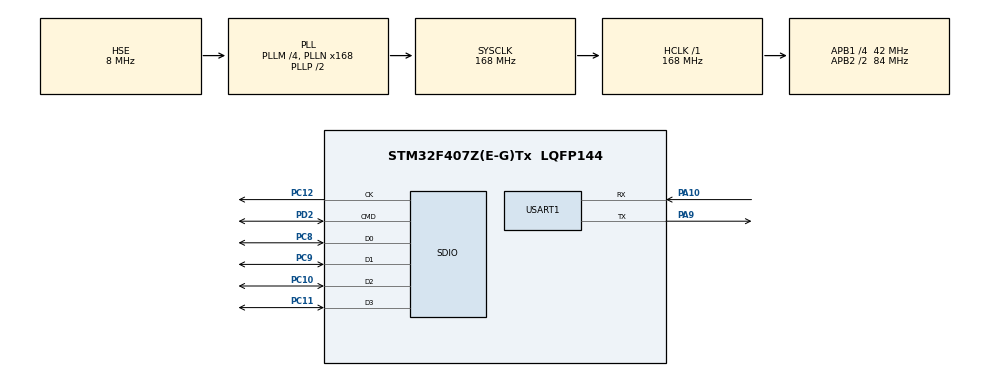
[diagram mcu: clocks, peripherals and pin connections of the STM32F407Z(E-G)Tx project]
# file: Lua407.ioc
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Mcu.Family=STM32F4
Mcu.Name=STM32F407Z(E-G)Tx
Mcu.Package=LQFP144
NVIC.PriorityGroup=NVIC_PRIORITYGROUP_4
PA10.Mode=Asynchronous
PA10.Signal=USART1_RX
PA13.Mode=Serial_Wire
PA13.Signal=SYS_JTMS-SWDIO
PA14.Mode=Serial_Wire
PA14.Signal=SYS_JTCK-SWCLK
PA9.Mode=Asynchronous
PA9.Signal=USART1_TX
PC10.Mode=SD_4_bits_Wide_bus
PC10.Signal=SDIO_D2
PC11.Mode=SD_4_bits_Wide_bus
PC11.Signal=SDIO_D3
PC12.Mode=SD_4_bits_Wide_bus
PC12.Signal=SDIO_CK
PC14-OSC32_IN.Mode=LSE-External-Oscillator
PC14-OSC32_IN.Signal=RCC_OSC32_IN
PC15-OSC32_OUT.Mode=LSE-External-Oscillator
PC15-OSC32_OUT.Signal=RCC_OSC32_OUT
PC8.Mode=SD_4_bits_Wide_bus
PC8.Signal=SDIO_D0
PC9.Mode=SD_4_bits_Wide_bus
PC9.Signal=SDIO_D1
PD2.Mode=SD_4_bits_Wide_bus
PD2.Signal=SDIO_CMD
PH0-OSC_IN.Mode=HSE-External-Oscillator
PH0-OSC_IN.Signal=RCC_OSC_IN
PH1-OSC_OUT.Mode=HSE-External-Oscillator
PH1-OSC_OUT.Signal=RCC_OSC_OUT
ProjectManager.HeapSize=0x200
ProjectManager.StackSize=0x400
ProjectManager.TargetToolchain=Makefile
RCC.48MHZClocksFreq_Value=48000000
RCC.AHBFreq_Value=168000000
RCC.APB1CLKDivider=RCC_HCLK_DIV4
RCC.APB1Freq_Value=42000000
RCC.APB1TimFreq_Value=84000000
RCC.APB2CLKDivider=RCC_HCLK_DIV2
RCC.APB2Freq_Value=84000000
RCC.APB2TimFreq_Value=168000000
RCC.CortexFreq_Value=168000000
RCC.EnbaleCSS=true
RCC.HCLKFreq_Value=168000000
RCC.HSE_VALUE=8000000
RCC.HSI_VALUE=16000000
RCC.PLLM=4
RCC.PLLN=168
RCC.PLLQ=7
RCC.PLLSourceVirtual=RCC_PLLSOURCE_HSE
RCC.SYSCLKFreq_VALUE=168000000
RCC.SYSCLKSource=RCC_SYSCLKSOURCE_PLLCLK
RCC.VCOOutputFreq_Value=336000000
USART1.VirtualMode=VM_ASYNC
VP_FATFS_VS_SDIO.Mode=SDIO
board=custom

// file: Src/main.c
/* USER CODE BEGIN Header */
/**
  ******************************************************************************
  * @file           : main.c
  * @brief          : Main program body
  ******************************************************************************
  * @attention
  *
  * <h2><center>&copy; Copyright (c) 2020 STMicroelectronics.
  * All rights reserved.</center></h2>
  *
  * This software component is licensed by ST under Ultimate Liberty license
  * SLA0044, the "License"; You may not use this file except in compliance with
  * the License. You may obtain a copy of the License at:
  *                             www.st.com/SLA0044
  *
  ******************************************************************************
  */
/* USER CODE END Header */

#include "main.h"
#include "fatfs.h"

/* USER CODE BEGIN Includes */
#include "../Lua/lauxlib.h"
#include "../Lua/lualib.h"
/* USER CODE END Includes */

SD_HandleTypeDef hsd;

UART_HandleTypeDef huart1;

void SystemClock_Config(void);
static void MX_GPIO_Init(void);
static void MX_SDIO_SD_Init(void);
static void MX_USART1_UART_Init(void);

/* USER CODE BEGIN 0 */
/* 测试的Lua代码字符 */

const char lua_test[] = {
    "print(string.format(\"Test %d %d %d %f %f %f Test\",12,0,-34,12.25,0.0,-56.50))\n"
    "mcu.myfun()\n"
    "function foo()\n"
    "  local i = 0\n"
    "  local sum = 1\n"
    "  while i <= 10 do\n"
    "    sum = sum * 2\n"
    "    i = i + 1\n"
    "  end\n"
    "return sum\n"
    "end\n"
    "print(\"sum = \", foo())\n"
    "print(\" and sum = 2^11 =\", 2 ^ 11)\n"
    "print(\" exp(200) =\", math.exp(200))\n"};
// */

void lua_writestring(const char *str, size_t l)
{
  if(l==0)l=strlen(str);
  HAL_UART_Transmit(&huart1, str, l, 1000);
}

void lua_writestringerror(const char *s, const char *p)
{
  //if(l==0)l=strlen(str);
  HAL_UART_Transmit(&huart1, p, strlen(p), 1000);
}

/* USER CODE END 0 */

int main(void)
{

  /* MCU Configuration--------------------------------------------------------*/

  /* Reset of all peripherals, Initializes the Flash interface and the Systick. */
  HAL_Init();

  /* Configure the system clock */
  SystemClock_Config();

  /* Initialize all configured peripherals */
  MX_GPIO_Init();
  MX_SDIO_SD_Init();
  MX_USART1_UART_Init();
  MX_FATFS_Init();
  /* USER CODE BEGIN 2 */
  FATFS fs;
  FRESULT res;
  FIL file;
  int br;
  char buffer[32*1024];

  res=f_mount(&fs,"/",0);
	res = f_open(&file, "0:/main.lua",FA_OPEN_ALWAYS|FA_READ|FA_WRITE );
  int len=0;
  while(1){									 //使用f_read读文件
    res = f_read(&file, &buffer[len], 1, &br);     //一次读一个字节直到读完全部文件信息
    len++;
    buffer[len]=0;
    if (res == FR_OK )
    {
      //lua_writestring(buffer,1);
    }else{
      //lua_writestring("f_read() fail .. \r\n",0);
    }
    if(f_eof(&file)) {break;}
  }

  lua_State *L;
  L = luaL_newstate();
  luaL_openlibs(L);
  luaopen_base(L);
  luaL_loadstring(L, lua_test);
  lua_pcallk(L, (0), (LUA_MULTRET), (0), 0, NULL);
  lua_close(L);
  /* USER CODE END 2 */

  /* Infinite loop */
  while (1)
  {

  }
}

void SystemClock_Config(void)
{
  RCC_OscInitTypeDef RCC_OscInitStruct = {0};
  RCC_ClkInitTypeDef RCC_ClkInitStruct = {0};

  /** Configure the main internal regulator output voltage
  */
  __HAL_RCC_PWR_CLK_ENABLE();
  __HAL_PWR_VOLTAGESCALING_CONFIG(PWR_REGULATOR_VOLTAGE_SCALE1);
  /** Initializes the CPU, AHB and APB busses clocks
  */
  RCC_OscInitStruct.OscillatorType = RCC_OSCILLATORTYPE_HSE;
  RCC_OscInitStruct.HSEState = RCC_HSE_ON;
  RCC_OscInitStruct.PLL.PLLState = RCC_PLL_ON;
  RCC_OscInitStruct.PLL.PLLSource = RCC_PLLSOURCE_HSE;
  RCC_OscInitStruct.PLL.PLLM = 4;
  RCC_OscInitStruct.PLL.PLLN = 168;
  RCC_OscInitStruct.PLL.PLLP = RCC_PLLP_DIV2;
  RCC_OscInitStruct.PLL.PLLQ = 7;
  if (HAL_RCC_OscConfig(&RCC_OscInitStruct) != HAL_OK)
  {
    Error_Handler();
  }
  /** Initializes the CPU, AHB and APB busses clocks
  */
  RCC_ClkInitStruct.ClockType = RCC_CLOCKTYPE_HCLK|RCC_CLOCKTYPE_SYSCLK
                              |RCC_CLOCKTYPE_PCLK1|RCC_CLOCKTYPE_PCLK2;
  RCC_ClkInitStruct.SYSCLKSource = RCC_SYSCLKSOURCE_PLLCLK;
  RCC_ClkInitStruct.AHBCLKDivider = RCC_SYSCLK_DIV1;
  RCC_ClkInitStruct.APB1CLKDivider = RCC_HCLK_DIV4;
  RCC_ClkInitStruct.APB2CLKDivider = RCC_HCLK_DIV2;

  if (HAL_RCC_ClockConfig(&RCC_ClkInitStruct, FLASH_LATENCY_5) != HAL_OK)
  {
    Error_Handler();
  }
  /** Enables the Clock Security System
  */
  HAL_RCC_EnableCSS();
}

static void MX_SDIO_SD_Init(void)
{

  hsd.Instance = SDIO;
  hsd.Init.ClockEdge = SDIO_CLOCK_EDGE_RISING;
  hsd.Init.ClockBypass = SDIO_CLOCK_BYPASS_DISABLE;
  hsd.Init.ClockPowerSave = SDIO_CLOCK_POWER_SAVE_DISABLE;
  hsd.Init.BusWide = SDIO_BUS_WIDE_1B;
  hsd.Init.HardwareFlowControl = SDIO_HARDWARE_FLOW_CONTROL_DISABLE;
  hsd.Init.ClockDiv = 0;

}

static void MX_USART1_UART_Init(void)
{

  huart1.Instance = USART1;
  huart1.Init.BaudRate = 115200;
  huart1.Init.WordLength = UART_WORDLENGTH_8B;
  huart1.Init.StopBits = UART_STOPBITS_1;
  huart1.Init.Parity = UART_PARITY_NONE;
  huart1.Init.Mode = UART_MODE_TX_RX;
  huart1.Init.HwFlowCtl = UART_HWCONTROL_NONE;
  huart1.Init.OverSampling = UART_OVERSAMPLING_16;
  if (HAL_UART_Init(&huart1) != HAL_OK)
  {
    Error_Handler();
  }

}

static void MX_GPIO_Init(void)
{

  /* GPIO Ports Clock Enable */
  __HAL_RCC_GPIOC_CLK_ENABLE();
  __HAL_RCC_GPIOH_CLK_ENABLE();
  __HAL_RCC_GPIOA_CLK_ENABLE();
  __HAL_RCC_GPIOD_CLK_ENABLE();

}

void Error_Handler(void)
{
}

/************************ (C) COPYRIGHT STMicroelectronics *****END OF FILE****/
